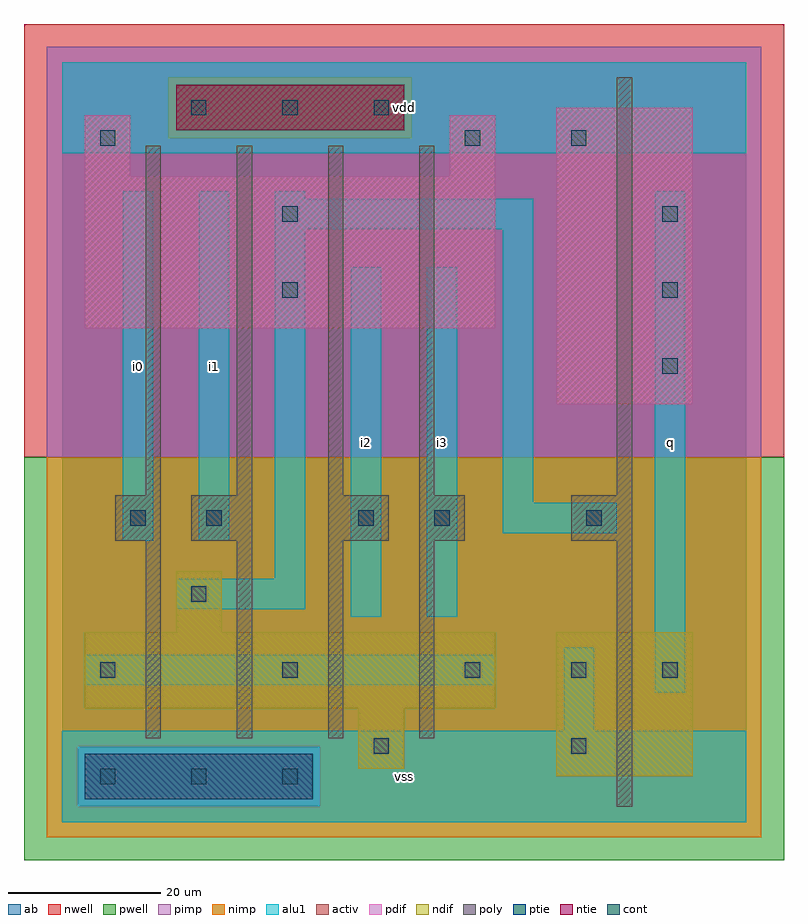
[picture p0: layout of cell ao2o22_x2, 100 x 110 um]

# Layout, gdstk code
import gdstk
lib = gdstk.Library(unit=1e-6, precision=1e-09)
def R(c, l, rs):  # rectangles x0, y0, x1, y1
    for r in rs: c.add(gdstk.rectangle(r[:2], r[2:], *l))
def A(c, l, x, y, w, h, nx, ny, dx, dy):  # array of equal rectangles
    R(c, l, [(x+i*dx, y+j*dy, x+i*dx+w, y+j*dy+h) for i in range(nx) for j in range(ny)])
ndif = (3, 0)
pdif = (4, 0)
ntie = (5, 0)
ptie = (6, 0)
cont = (25, 0)
pwell = (41, 0)
nwell = (42, 0)
activ = (43, 0)
pimp = (44, 0)
nimp = (45, 0)
poly = (46, 0)
alu1 = (49, 0)
ab = (63, 0)

ao2o22_x2 = lib.new_cell('ao2o22_x2')
R(ao2o22_x2, ndif, [(65,6,83,25), (39,7,45,15), (3,15,57,25), (15,25,21,33)])
R(ao2o22_x2, pdif, [(65,55,83,94), (3,65,57,85), (3,85,9,93), (51,85,57,93)])
R(ao2o22_x2, ntie, [(15,91,45,97)])
R(ao2o22_x2, ptie, [(3,3,33,9)])
A(ao2o22_x2, cont, 5, 5, 2, 2, 3, 1, 12, 0)
A(ao2o22_x2, cont, 5, 19, 2, 2, 3, 1, 24, 0)
A(ao2o22_x2, cont, 79, 59, 2, 2, 1, 3, 0, 10)
A(ao2o22_x2, cont, 17, 93, 2, 2, 3, 1, 12, 0)
R(ao2o22_x2, cont, [(41,9,43,11), (67,9,69,11), (67,19,69,21), (79,19,81,21), (17,29,19,31), (9,39,11,41), (19,39,21,41), (39,39,41,41), (49,39,51,41), (69,39,71,41), (29,69,31,71), (29,79,31,81), (5,89,7,91), (53,89,55,91), (67,89,69,91)])
R(ao2o22_x2, pwell, [(-5,-5,95,48)])
R(ao2o22_x2, nwell, [(-5,48,95,105)])
R(ao2o22_x2, activ, [(3,3,33,9), (65,6,83,25), (39,7,45,15), (3,15,57,25), (15,25,21,33), (65,55,83,94), (3,65,57,85), (3,85,9,93), (51,85,57,93), (15,91,45,97)])
R(ao2o22_x2, pimp, [(2,2,34,10), (-2,48,92,90), (-2,90,14,98), (46,90,92,98), (-2,98,92,102)])
R(ao2o22_x2, nimp, [(-2,-2,92,2), (-2,2,2,10), (34,2,92,10), (-2,10,92,48), (14,90,46,98)])
A(ao2o22_x2, poly, 11, 11, 2, 26, 4, 1, 12, 0)
A(ao2o22_x2, poly, 11, 43, 2, 46, 4, 1, 12, 0)
R(ao2o22_x2, poly, [(73,2,75,37), (7,37,13,43), (17,37,25,43), (35,37,43,43), (47,37,53,43), (67,37,75,43), (73,43,75,98)])
R(ao2o22_x2, alu1, [(0,0,90,12), (66,12,70,23), (78,17,82,83), (3,18,57,22), (38,27,42,73), (48,27,52,73), (15,28,32,32), (28,32,32,78), (8,37,12,83), (18,37,22,83), (58,38,73,42), (58,42,62,78), (28,78,62,82), (28,82,32,83), (0,88,90,100)])
R(ao2o22_x2, ab, [(0,0,90,100)])
ao2o22_x2.add(gdstk.Label('i0', (10,60), layer=49, texttype=0))
ao2o22_x2.add(gdstk.Label('i2', (40,50), layer=49, texttype=0))
ao2o22_x2.add(gdstk.Label('i1', (20,60), layer=49, texttype=0))
ao2o22_x2.add(gdstk.Label('vss', (45,6), layer=49, texttype=0))
ao2o22_x2.add(gdstk.Label('i3', (50,50), layer=49, texttype=0))
ao2o22_x2.add(gdstk.Label('vdd', (45,94), layer=49, texttype=0))
ao2o22_x2.add(gdstk.Label('q', (80,50), layer=49, texttype=0))

lib.write_gds('ao2o22_x2.gds')
